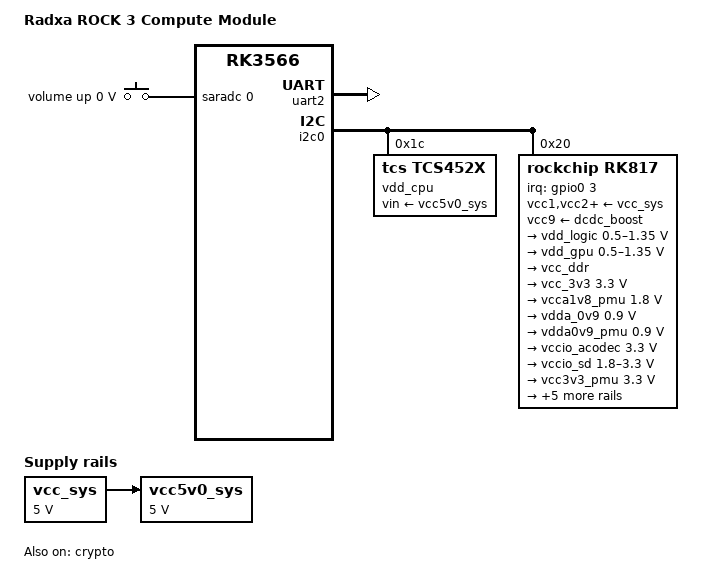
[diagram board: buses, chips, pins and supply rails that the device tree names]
// SPDX-License-Identifier: (GPL-2.0+ OR MIT)
/*
 * Copyright (c) 2020 Rockchip Electronics Co., Ltd.
 * Copyright (c) 2021 Radxa Limited.
 *
 */

/dts-v1/;
#include "rk3568.dtsi"
#include "rk3568-u-boot.dtsi"
#include <dt-bindings/input/input.h>

/ {
	model = "Radxa ROCK 3 Compute Module";
	compatible = "radxa,rock-3-compute-module", "rockchip,rk3566";

	vcc_sys: vcc-sys {
		compatible = "regulator-fixed";
		regulator-name = "vcc_sys";
		regulator-always-on;
		regulator-boot-on;
		regulator-min-microvolt = <5000000>;
		regulator-max-microvolt = <5000000>;
	};

	vcc5v0_sys: vcc5v0-sys {
		compatible = "regulator-fixed";
		regulator-name = "vcc5v0_sys";
		regulator-always-on;
		regulator-boot-on;
		regulator-min-microvolt = <5000000>;
		regulator-max-microvolt = <5000000>;
		vin-supply = <&vcc_sys>;
	};

	adc-keys {
		compatible = "adc-keys";
		io-channels = <&saradc 0>;
		io-channel-names = "buttons";
		keyup-threshold-microvolt = <1800000>;
		u-boot,dm-spl;
		status = "okay";

		volumeup-key {
			u-boot,dm-spl;
			linux,code = <KEY_VOLUMEUP>;
			label = "volume up";
			press-threshold-microvolt = <9>;
		};
	};
};

&crypto {
	status = "okay";
};

&uart2 {
	status = "okay";
};

&pmu_io_domains {
	status = "okay";
	pmuio1-supply = <&vcc3v3_pmu>;
	pmuio2-supply = <&vcc_3v3>;
	vccio1-supply = <&vccio_acodec>;
	vccio2-supply = <&vcc_1v8>;
	vccio3-supply = <&vccio_sd>;
	vccio4-supply = <&vcc_1v8>;
	vccio5-supply = <&vcc_3v3>;
	vccio6-supply = <&vcc_3v3>;
	vccio7-supply = <&vcc_3v3>;
};

&i2c0 {
	status = "okay";

	vdd_cpu: tcs4525@1c {
		compatible = "tcs,tcs452x";
		reg = <0x1c>;
		vin-supply = <&vcc5v0_sys>;
		regulator-compatible = "fan53555-reg";
		regulator-name = "vdd_cpu";
		regulator-min-microvolt = <712500>;
		regulator-max-microvolt = <1390000>;
		regulator-ramp-delay = <2300>;
		fcs,suspend-voltage-selector = <1>;
		regulator-boot-on;
		regulator-always-on;
		regulator-state-mem {
			regulator-off-in-suspend;
		};
	};

	rk817: pmic@20 {
		compatible = "rockchip,rk817";
		reg = <0x20>;
		interrupt-parent = <&gpio0>;
		interrupts = <3 IRQ_TYPE_LEVEL_LOW>;

		pinctrl-names = "default", "pmic-sleep",
				"pmic-power-off", "pmic-reset";
		pinctrl-0 = <&pmic_int>;
		pinctrl-1 = <&soc_slppin_slp>, <&rk817_slppin_slp>;
		pinctrl-2 = <&soc_slppin_gpio>, <&rk817_slppin_pwrdn>;
		pinctrl-3 = <&soc_slppin_gpio>, <&rk817_slppin_rst>;
		rockchip,system-power-controller;
		wakeup-source;
		#clock-cells = <1>;
		clock-output-names = "rk808-clkout1", "rk808-clkout2";
		//fb-inner-reg-idxs = <2>;
		/* 1: rst regs (default in codes), 0: rst the pmic */
		pmic-reset-func = <0>;

		vcc1-supply = <&vcc_sys>;
		vcc2-supply = <&vcc_sys>;
		vcc3-supply = <&vcc_sys>;
		vcc4-supply = <&vcc_sys>;
		vcc5-supply = <&vcc_sys>;
		vcc6-supply = <&vcc_sys>;
		vcc7-supply = <&vcc_sys>;
		vcc8-supply = <&vcc_sys>;
		vcc9-supply = <&dcdc_boost>;

		pwrkey {
			status = "okay";
		};

		pinctrl_rk8xx: pinctrl_rk8xx {
			gpio-controller;
			#gpio-cells = <2>;

			rk817_slppin_null: rk817_slppin_null {
				pins = "gpio_slp";
				function = "pin_fun0";
			};

			rk817_slppin_slp: rk817_slppin_slp {
				pins = "gpio_slp";
				function = "pin_fun1";
			};

			rk817_slppin_pwrdn: rk817_slppin_pwrdn {
				pins = "gpio_slp";
				function = "pin_fun2";
			};

			rk817_slppin_rst: rk817_slppin_rst {
				pins = "gpio_slp";
				function = "pin_fun3";
			};
		};

		regulators {
			vdd_logic: DCDC_REG1 {
				regulator-always-on;
				regulator-boot-on;
				regulator-min-microvolt = <500000>;
				regulator-max-microvolt = <1350000>;
				regulator-init-microvolt = <900000>;
				regulator-ramp-delay = <6001>;
				regulator-initial-mode = <0x2>;
				regulator-name = "vdd_logic";
				regulator-state-mem {
					regulator-off-in-suspend;
					regulator-suspend-microvolt = <900000>;
				};
			};

			vdd_gpu: DCDC_REG2 {
				regulator-always-on;
				regulator-boot-on;
				regulator-min-microvolt = <500000>;
				regulator-max-microvolt = <1350000>;
				regulator-init-microvolt = <900000>;
				regulator-ramp-delay = <6001>;
				regulator-initial-mode = <0x2>;
				regulator-name = "vdd_gpu";
				regulator-state-mem {
					regulator-off-in-suspend;
				};
			};

			vcc_ddr: DCDC_REG3 {
				regulator-always-on;
				regulator-boot-on;
				regulator-initial-mode = <0x2>;
				regulator-name = "vcc_ddr";
				regulator-state-mem {
					regulator-on-in-suspend;
				};
			};

			vcc_3v3: DCDC_REG4 {
				regulator-always-on;
				regulator-boot-on;
				regulator-min-microvolt = <3300000>;
				regulator-max-microvolt = <3300000>;
				regulator-initial-mode = <0x2>;
				regulator-name = "vcc_3v3";
				regulator-state-mem {
					regulator-on-in-suspend;
					regulator-suspend-microvolt = <3300000>;
				};
			};

			vcca1v8_pmu: LDO_REG1 {
				regulator-always-on;
				regulator-boot-on;
				regulator-min-microvolt = <1800000>;
				regulator-max-microvolt = <1800000>;
				regulator-name = "vcca1v8_pmu";
				regulator-state-mem {
					regulator-on-in-suspend;
					regulator-suspend-microvolt = <1800000>;
				};
			};

			vdda_0v9: LDO_REG2 {
				regulator-always-on;
				regulator-boot-on;
				regulator-min-microvolt = <900000>;
				regulator-max-microvolt = <900000>;
				regulator-name = "vdda_0v9";
				regulator-state-mem {
					regulator-off-in-suspend;
				};
			};

			vdda0v9_pmu: LDO_REG3 {
				regulator-always-on;
				regulator-boot-on;
				regulator-min-microvolt = <900000>;
				regulator-max-microvolt = <900000>;
				regulator-name = "vdda0v9_pmu";
				regulator-state-mem {
					regulator-on-in-suspend;
					regulator-suspend-microvolt = <900000>;
				};
			};

			vccio_acodec: LDO_REG4 {
				regulator-always-on;
				regulator-boot-on;
				regulator-min-microvolt = <3300000>;
				regulator-max-microvolt = <3300000>;
				regulator-name = "vccio_acodec";
				regulator-state-mem {
					regulator-off-in-suspend;
				};
			};

			vccio_sd: LDO_REG5 {
				regulator-always-on;
				regulator-boot-on;
				regulator-min-microvolt = <1800000>;
				regulator-max-microvolt = <3300000>;
				regulator-name = "vccio_sd";
				regulator-state-mem {
					regulator-off-in-suspend;
				};
			};

			vcc3v3_pmu: LDO_REG6 {
				regulator-always-on;
				regulator-boot-on;
				regulator-min-microvolt = <3300000>;
				regulator-max-microvolt = <3300000>;
				regulator-name = "vcc3v3_pmu";
				regulator-state-mem {
					regulator-on-in-suspend;
					regulator-suspend-microvolt = <3000000>;
				};
			};

			vcc_1v8: LDO_REG7 {
				regulator-always-on;
				regulator-boot-on;
				regulator-min-microvolt = <1800000>;
				regulator-max-microvolt = <1800000>;
				regulator-name = "vcc_1v8";
				regulator-state-mem {
					regulator-off-in-suspend;
				};
			};

			vcc1v8_dvp: LDO_REG8 {
				regulator-always-on;
				regulator-boot-on;
				regulator-min-microvolt = <1800000>;
				regulator-max-microvolt = <1800000>;
				regulator-name = "vcc1v8_dvp";
				regulator-state-mem {
					regulator-off-in-suspend;
				};
			};

			vcc2v8_dvp: LDO_REG9 {
				regulator-always-on;
				regulator-boot-on;
				regulator-min-microvolt = <2800000>;
				regulator-max-microvolt = <2800000>;
				regulator-name = "vcc2v8_dvp";
				regulator-state-mem {
					regulator-off-in-suspend;
				};
			};

			dcdc_boost: BOOST {
				regulator-always-on;
				regulator-boot-on;
				regulator-min-microvolt = <5000000>;
				regulator-max-microvolt = <5000000>;
				regulator-name = "boost";
				regulator-state-mem {
					regulator-off-in-suspend;
				};
			};

			otg_switch: OTG_SWITCH {
				regulator-name = "otg_switch";
				regulator-state-mem {
					regulator-off-in-suspend;
				};
			};
		};

		battery {
			compatible = "rk817,battery";
			ocv_table = <3400 3513 3578 3687 3734 3752 3763
				     3766 3771 3784 3804 3836 3885 3925
				     3962 4005 4063 4114 4169 4227 4303>;
			design_capacity = <5000>;
			design_qmax = <5500>;
			bat_res = <100>;
			sleep_enter_current = <150>;
			sleep_exit_current = <180>;
			sleep_filter_current = <100>;
			power_off_thresd = <3350>;
			zero_algorithm_vol = <3850>;
			max_soc_offset = <60>;
			monitor_sec = <5>;
			sample_res = <10>;
			virtual_power = <0>;
		};

		charger {
			compatible = "rk817,charger";
			min_input_voltage = <4500>;
			max_input_current = <1500>;
			max_chrg_current = <2000>;
			max_chrg_voltage = <4300>;
			chrg_term_mode = <0>;
			chrg_finish_cur = <300>;
			virtual_power = <0>;
			dc_det_adc = <0>;
			extcon = <&usb2phy0>;
		};
	};
};

&pinctrl {
	pmic {
		pmic_int: pmic_int {
			rockchip,pins =
				<0 RK_PA3 RK_FUNC_GPIO &pcfg_pull_up>;
		};

		soc_slppin_gpio: soc_slppin_gpio {
			rockchip,pins =
				<0 RK_PA2 RK_FUNC_GPIO &pcfg_output_low>;
		};

		soc_slppin_slp: soc_slppin_slp {
			rockchip,pins =
				<0 RK_PA2 RK_FUNC_1 &pcfg_pull_none>;
		};

		soc_slppin_rst: soc_slppin_rst {
			rockchip,pins =
				<0 RK_PA2 RK_FUNC_2 &pcfg_pull_none>;
		};
	};
};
